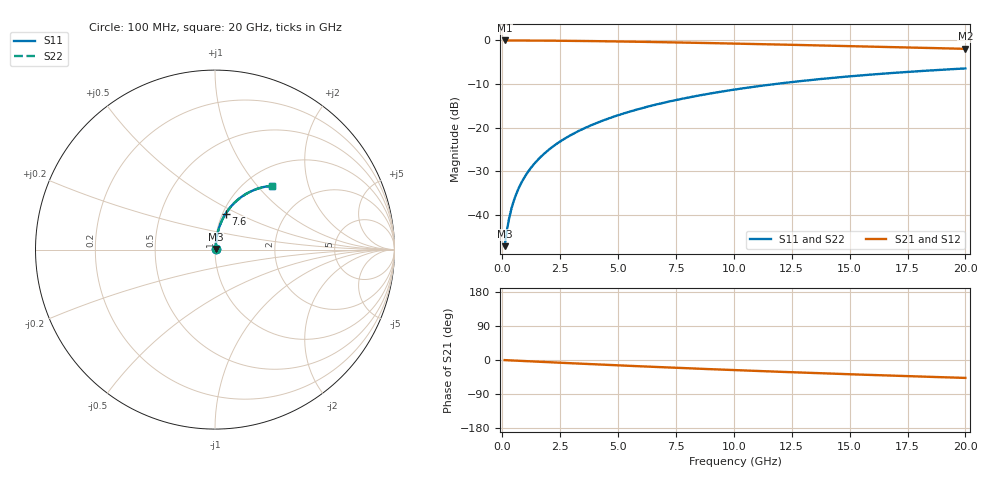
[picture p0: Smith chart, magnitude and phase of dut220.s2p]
! Touchstone file exported from HFSS 2024.1.0
!  File:  C:/UserFiles/LocalFiles/RDL_TSV_Batchsim/temp_RDL_bottom_220_1778700389.aedt
!  Generated:  03:28:54 AM May 14, 2026
!  Design:  RDL_bottom
!  Project:  temp_RDL_bottom_220_1778700389
!  Setup:  Setup1
!  Solution:  Sweep
! Variables:
!  dtsv = 10.80580581um
!  hbump = 3um
!  htsv = 59.34um
!  ldown = 634.51um
!  lrdl = 100um
!  p = 40
!  p1 = 56.69um
!  rhole = 1um
!  t = 450um
!  tdown = 4.15um
!  trdl = 3.915915916um
!  wdown = 17.2um
!  wrdl = 20um
# GHz S MA R 50.000000
! Terminal data exported
! Port[1] = RDL1_T1
! Port[2] = RDL1_T2
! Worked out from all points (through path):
!   200 points, 100 MHz to 20 GHz, reference 50 ohm
!   highest |S21| = -0.03 dB at 100 MHz (marker M1); lowest = -1.9 dB at 20 GHz (marker M2)
!   group delay of S21, straight-line fit = 6.54 ps
!   lowest |S11| = -47.2 dB at 100 MHz (marker M3), VSWR 1.01, Z = 50.3 + j0.293 ohm
!   |S11| at or under -10 dB: start of sweep to 11.81 GHz
!   |S22| runs from -47.2 to -6.4 dB; largest |S21 - S12| = 5.5e-15
!   S11 on the Smith chart (normalised r, x): 100 MHz: 1.01, +0.01; 7.6 GHz: 1.03, +0.43; 20 GHz: 1.30, +1.20
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0.1  0.004378 41.7  0.9967 -0.3  0.9967 -0.3  0.004378 41.7
! Gamma 0 0 0 0
! Port Impedance 50 0 50 0
0.2  0.006696 59.5  0.9966 -0.6  0.9966 -0.6  0.006696 59.5
0.3  0.009275 67.5  0.9964 -0.9  0.9964 -0.9  0.009275 67.5
0.4  0.01192 71.9  0.9962 -1.2  0.9962 -1.2  0.01192 71.9
0.5  0.01458 74.6  0.9961 -1.5  0.9961 -1.5  0.01458 74.6
0.6  0.01726 76.5  0.9959 -1.8  0.9959 -1.8  0.01726 76.5
0.8  0.02266 79.0  0.9955 -2.3  0.9955 -2.3  0.02266 79.0
1.1  0.03082 80.8  0.9948 -3.2  0.9948 -3.2  0.03082 80.8
1.5  0.04177 81.9  0.9936 -4.4  0.9936 -4.4  0.04177 81.9
1.8  0.05002 82.2  0.9925 -5.2  0.9925 -5.2  0.05002 82.2
2.1  0.05829 82.2  0.9912 -6.1  0.9912 -6.1  0.05829 82.2
2.7  0.07486 81.9  0.9881 -7.8  0.9881 -7.8  0.07486 81.9
3.5  0.09702 80.9  0.983 -10.0  0.983 -10.0  0.09702 80.9
4.2  0.1164 79.9  0.9778 -11.9  0.9778 -11.9  0.1164 79.9
5  0.1386 78.5  0.971 -14.1  0.971 -14.1  0.1386 78.5
5.9  0.1634 76.9  0.9627 -16.5  0.9627 -16.5  0.1634 76.9
6.8  0.188 75.1  0.9537 -18.8  0.9537 -18.8  0.188 75.1
7.6  0.2095 73.4  0.9453 -20.8  0.9453 -20.8  0.2095 73.4
10.1  0.2746 68.1  0.9172 -26.8  0.9172 -26.8  0.2746 68.1
13.4  0.3526 61.1  0.8778 -34.2  0.8778 -34.2  0.3526 61.1
16.7  0.4199 54.4  0.8378 -41.0  0.8378 -41.0  0.4199 54.4
20  0.4763 48.3  0.7991 -47.3  0.7991 -47.3  0.4764 48.3
